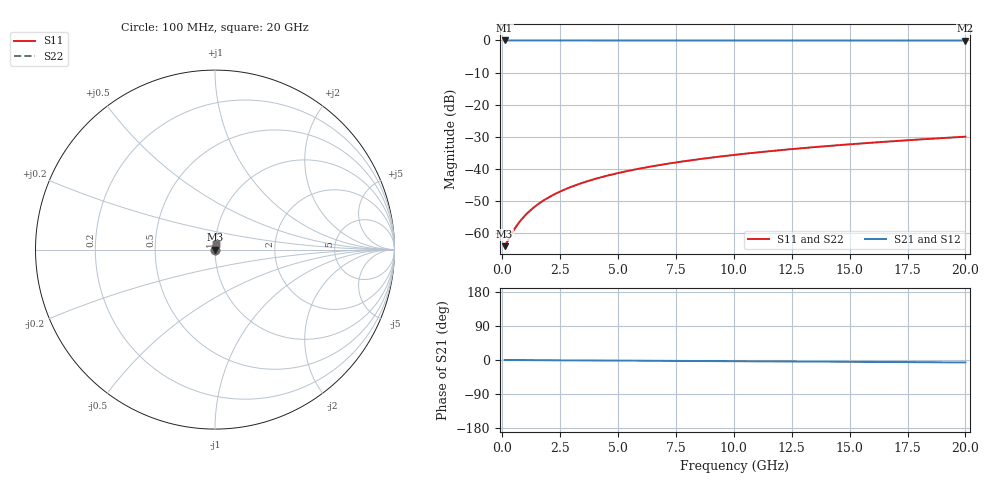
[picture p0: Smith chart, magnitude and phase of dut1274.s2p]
! Touchstone file exported from HFSS 2026.1.0
!  File:  C:/ffzhzh/LocalFiles/Ansys_Project_Files/temp_train_TSV_1274_1783194199_43440.aedt
!  Generated:  03:45:05 AM Jul  5, 2026
!  Design:  TSV
!  Project:  temp_train_TSV_1274_1783194199_43440
! Variables:
!  h_bsmrdl = 2um
!  h_ox = 20um
!  h_rdl = 5um
!  h_sub = 63.34um
!  h_tmrdl = 5um
!  h_tsv = 63.34um
!  h_via = 3um
!  l_bsmrdl = 300um
!  l_sub = 407.22um
!  l_tmrdl = 200um
!  m_sub = 200um
!  pitch = 21.92um
!  r_tsv = 3.61um
!  s_tmrdl = 10um
!  w_bsmrdl = 18um
!  w_sub = 500um
!  w_tmrdl = 12um
!  x_tsv_center1 = 206um
!  x_tsv_center2 = 524um
!  x_tsv_center3 = 736um
!  x_tsv_center4 = 1054um
!  x_tsv_center5 = 1266um
!  x_tsv_center6 = 1584um
# GHz S MA R 50.000000
! Terminal data exported
! Port[1] = TSV1_1_T1
! Port[2] = TSV1_1_T2
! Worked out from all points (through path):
!   200 points, 100 MHz to 20 GHz, reference 50 ohm
!   highest |S21| = -0.01 dB at 100 MHz (marker M1); lowest = 0.0 dB at 20 GHz (marker M2)
!   lowest |S11| = -64.1 dB at 100 MHz (marker M3), VSWR 1.00, Z = 50.1 + j0.0193 ohm
!   |S11| at or under -10 dB: start of sweep to end of sweep
!   |S22| runs from -64.1 to -30.0 dB; largest |S21 - S12| = 2.3e-15
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0.1  0.0006203 18.1  0.9994 -0.0  0.9994 -0.0  0.0006203 18.1
! Gamma 0 0 0 0
! Port Impedance 50 0 50 0
0.2  0.0007121 32.2  0.9994 -0.1  0.9994 -0.1  0.0007121 32.2
0.5  0.00111 54.8  0.9994 -0.2  0.9994 -0.2  0.00111 54.8
0.7  0.001413 62.3  0.9993 -0.2  0.9993 -0.2  0.001413 62.3
0.8  0.00157 64.9  0.9993 -0.3  0.9993 -0.3  0.00157 64.9
1  0.001893 68.9  0.9993 -0.3  0.9993 -0.3  0.001893 68.9
1.2  0.002223 71.7  0.9993 -0.4  0.9993 -0.4  0.002223 71.7
1.4  0.002557 73.7  0.9993 -0.5  0.9993 -0.5  0.002557 73.7
1.8  0.00323 76.4  0.9993 -0.6  0.9993 -0.6  0.00323 76.4
2.3  0.004076 78.3  0.9992 -0.8  0.9992 -0.8  0.004076 78.3
2.9  0.005088 79.6  0.9991 -1.0  0.9991 -1.0  0.005088 79.6
3.5  0.006092 80.3  0.9991 -1.1  0.9991 -1.1  0.006092 80.3
4.2  0.00725 80.7  0.999 -1.4  0.999 -1.4  0.00725 80.7
5  0.008555 81.0  0.9989 -1.6  0.9989 -1.6  0.008555 81.0
5.9  0.01 81.1  0.9987 -1.9  0.9987 -1.9  0.01 81.1
6.8  0.01143 81.1  0.9986 -2.2  0.9986 -2.2  0.01143 81.1
8.3  0.01378 81.0  0.9984 -2.7  0.9984 -2.7  0.01378 81.0
10.1  0.01655 80.9  0.9982 -3.3  0.9982 -3.3  0.01655 80.9
11.7  0.019 80.7  0.998 -3.8  0.998 -3.8  0.019 80.7
13.4  0.02159 80.5  0.9978 -4.3  0.9978 -4.3  0.02159 80.5
16.7  0.02659 79.9  0.9975 -5.3  0.9975 -5.3  0.02659 79.9
20  0.03156 79.3  0.9971 -6.4  0.9971 -6.4  0.03156 79.3
